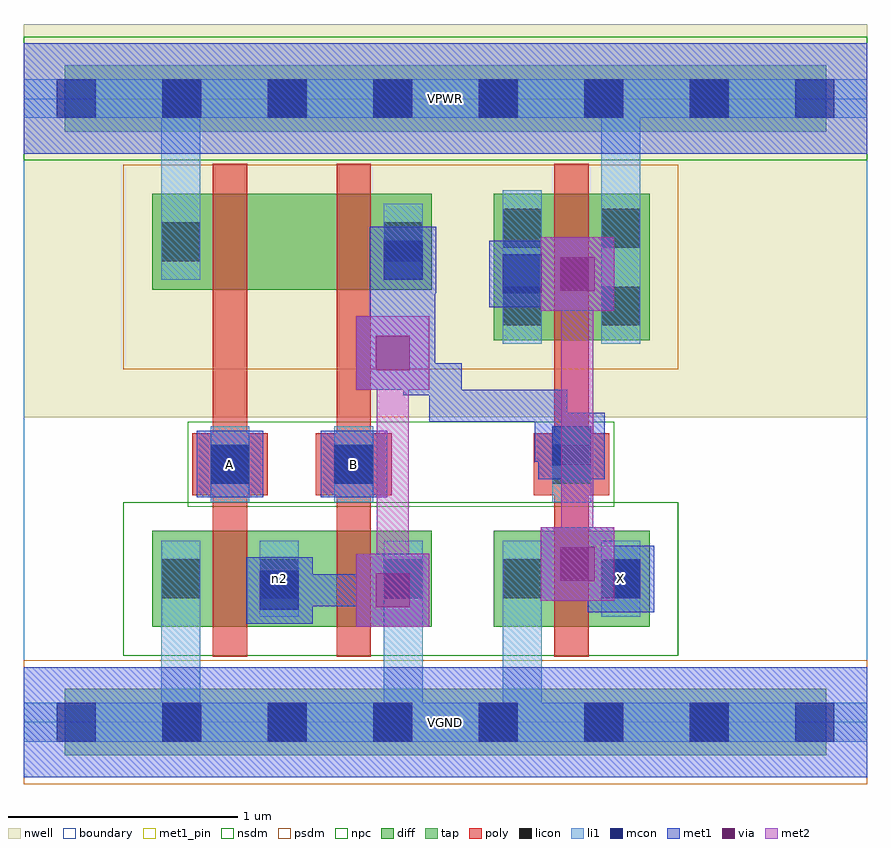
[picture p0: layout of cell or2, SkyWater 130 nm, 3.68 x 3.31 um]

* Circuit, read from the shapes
.subckt or2 A B VGND VPWR X n2
XM1 n2 A VGND VGND sky130_fd_pr__nfet_01v8 w=0.42 l=0.15
XM2 VGND B n2 VGND sky130_fd_pr__nfet_01v8 w=0.42 l=0.15
XM3 X n2 VGND VGND sky130_fd_pr__nfet_01v8 w=0.42 l=0.15
XM4 n1 A VPWR VPWR sky130_fd_pr__pfet_01v8 w=0.42 l=0.15
XM5 n2 B n1 VPWR sky130_fd_pr__pfet_01v8 w=0.42 l=0.15
XM6 VPWR n2 X VPWR sky130_fd_pr__pfet_01v8 w=0.64 l=0.15
.ends

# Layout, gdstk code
import gdstk
lib = gdstk.Library(unit=1e-6, precision=1e-09)
def R(c, l, rs):  # rectangles x0, y0, x1, y1
    for r in rs: c.add(gdstk.rectangle(r[:2], r[2:], *l))
def A(c, l, x, y, w, h, nx, ny, dx, dy):  # array of equal rectangles
    R(c, l, [(x+i*dx, y+j*dy, x+i*dx+w, y+j*dy+h) for i in range(nx) for j in range(ny)])
nwell = (64, 20)
diff = (65, 20)
tap = (65, 44)
poly = (66, 20)
licon = (66, 44)
li1 = (67, 20)
mcon = (67, 44)
met1_pin = (68, 16)
met1 = (68, 20)
via = (68, 44)
met2 = (69, 20)
nsdm = (93, 44)
psdm = (94, 20)
npc = (95, 20)
boundary = (235, 4)

or2 = lib.new_cell('or2')
R(or2, nwell, [(0,1.33,3.68,3.045)])
R(or2, diff, [(0.56,0.415,1.78,0.835), (2.05,0.415,2.73,0.835), (2.05,1.665,2.73,2.305), (0.56,1.885,1.78,2.305)])
R(or2, tap, [(0.18,-0.145,3.5,0.145), (0.18,2.575,3.5,2.865)])
R(or2, poly, [(0.825,0.285,0.975,2.435), (1.365,0.285,1.515,2.435), (2.315,0.285,2.465,2.435), (0.735,0.99,1.065,1.26), (1.275,0.99,1.605,1.26), (2.225,0.99,2.555,1.26)])
A(or2, licon, 0.605, -0.085, 0.17, 0.17, 6, 2, 0.46, 2.72)
R(or2, licon, [(0.6,0.54,0.77,0.71), (1.03,0.54,1.2,0.71), (1.57,0.54,1.74,0.71), (2.09,0.54,2.26,0.71), (2.52,0.54,2.69,0.71), (0.815,1.04,0.985,1.21), (1.355,1.04,1.525,1.21), (2.305,1.04,2.475,1.21), (2.09,1.73,2.26,1.9), (2.52,1.73,2.69,1.9), (0.6,2.01,0.77,2.18), (1.57,2.01,1.74,2.18), (2.09,2.07,2.26,2.24), (2.52,2.07,2.69,2.24)])
R(or2, li1, [(0,-0.085,3.68,0.085), (0.6,-0.085,0.77,0.79), (1.57,-0.085,1.74,0.79), (2.09,-0.085,2.26,0.79), (0.6,0.46,0.77,0.79), (1.03,0.46,1.2,0.79), (1.57,0.46,1.74,0.79), (2.09,0.46,2.26,0.79), (2.52,0.46,2.69,0.79), (0.815,0.96,0.985,1.29), (1.355,0.96,1.525,1.29), (2.305,0.96,2.475,1.29), (2.09,1.65,2.26,2.32), (2.52,1.65,2.69,2.32), (2.52,1.65,2.69,2.805), (0.6,1.93,0.77,2.26), (0.6,1.93,0.77,2.805), (1.57,1.93,1.74,2.26), (0,2.635,3.68,2.805)])
A(or2, mcon, 0.145, -0.085, 0.17, 0.17, 8, 2, 0.46, 2.72)
R(or2, mcon, [(1.03,0.49,1.2,0.66), (2.52,0.54,2.69,0.71), (0.815,1.04,0.985,1.21), (1.355,1.04,1.525,1.21), (2.305,1.12,2.475,1.29), (2.09,1.87,2.26,2.04), (1.57,1.93,1.74,2.1)])
R(or2, met1_pin, [(0,-0.24,3.68,0.24), (2.46,0.48,2.75,0.77), (0.755,0.98,1.045,1.27), (1.295,0.98,1.585,1.27), (0,2.48,3.68,2.96)])
R(or2, met1, [(0,-0.24,3.68,0.24), (1.45,0.415,1.77,0.735), (0.97,0.43,1.26,0.72), (2.46,0.48,2.75,0.77), (1.045,0.505,1.335,0.645), (1.195,0.505,1.68,0.645), (2.255,0.53,2.575,0.85), (2.345,0.62,2.6,0.76), (2.46,0.62,2.6,0.76), (0.755,0.98,1.045,1.27), (1.295,0.98,1.585,1.27), (2.245,1.06,2.535,1.35), (2.23,1.135,2.46,1.275), (2.23,1.135,2.37,1.45), (1.77,1.31,2.37,1.45), (1.77,1.31,1.91,1.565), (1.655,1.425,1.91,1.565), (1.655,1.425,1.795,1.91), (1.45,1.45,1.77,1.77), (1.54,1.54,1.795,1.68), (1.51,1.77,1.77,1.87), (1.655,1.77,1.795,2.085), (2.255,1.795,2.575,2.115), (2.03,1.81,2.32,2.1), (1.51,1.87,1.8,2.16), (2.105,1.885,2.37,2.025), (2.23,1.885,2.485,2.025), (1.585,1.945,1.795,2.085), (0,2.48,3.68,2.96)])
R(or2, via, [(1.535,0.5,1.685,0.65), (2.34,0.615,2.49,0.765), (1.535,1.535,1.685,1.685), (2.34,1.88,2.49,2.03)])
R(or2, met2, [(1.45,0.415,1.77,0.735), (1.54,0.505,1.68,1.68), (2.255,0.53,2.575,0.85), (2.345,0.62,2.485,2.025), (1.45,1.45,1.77,1.77), (2.255,1.795,2.575,2.115)])
R(or2, nsdm, [(0.435,0.29,2.855,0.96), (0,2.45,3.68,2.99)])
R(or2, psdm, [(0,-0.27,3.68,0.27), (0.435,1.54,2.855,2.43)])
R(or2, npc, [(0.715,0.94,2.575,1.31)])
R(or2, boundary, [(0,0,3.68,2.72)])
or2.add(gdstk.Label('n2', (1.115,0.625), layer=67, texttype=5))
or2.add(gdstk.Label('A', (0.9,1.125), layer=68, texttype=5))
or2.add(gdstk.Label('B', (1.44,1.125), layer=68, texttype=5))
or2.add(gdstk.Label('X', (2.605,0.625), layer=68, texttype=5))
or2.add(gdstk.Label('VPWR', (1.84,2.72), layer=68, texttype=5))
or2.add(gdstk.Label('VGND', (1.84,0), layer=68, texttype=5))
or2.add(gdstk.Label('A', (0.9,1.125), layer=68, texttype=16))
or2.add(gdstk.Label('B', (1.44,1.125), layer=68, texttype=16))
or2.add(gdstk.Label('X', (2.605,0.625), layer=68, texttype=16))
or2.add(gdstk.Label('VPWR', (1.84,2.72), layer=68, texttype=16))
or2.add(gdstk.Label('VGND', (1.84,0), layer=68, texttype=16))

lib.write_gds('or2.gds')
